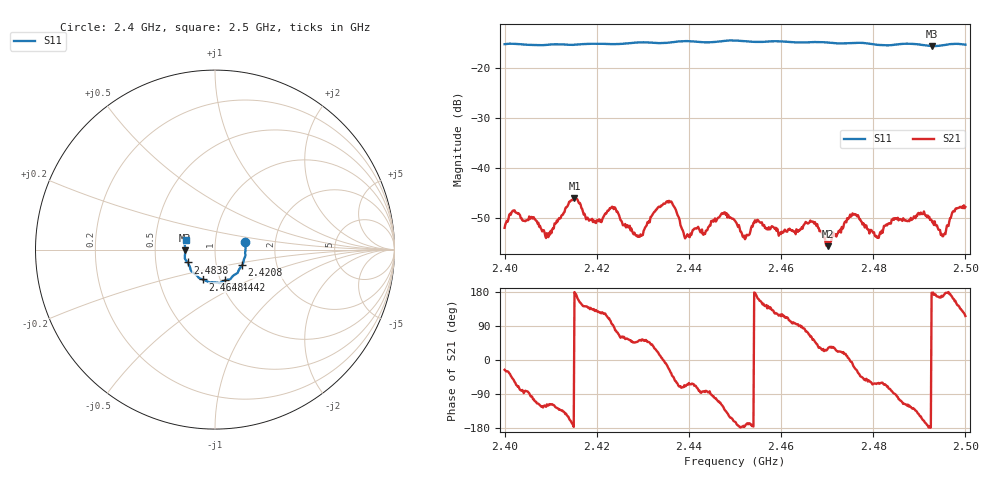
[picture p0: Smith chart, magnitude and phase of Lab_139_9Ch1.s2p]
# Hz S RI R 50
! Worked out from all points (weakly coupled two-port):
!   601 points, 2.4 GHz to 2.5 GHz, reference 50 ohm
!   highest |S21| = -45.96 dB at 2.4152 GHz (marker M1); lowest = -55.6 dB at 2.4702 GHz (marker M2)
!   lowest |S11| = -15.6 dB at 2.4928 GHz (marker M3), VSWR 1.40, Z = 35.8 - j0.354 ohm
!   |S11| at or under -10 dB: start of sweep to end of sweep
!   S12 and S22 are empty: the file has one direction only
!   S11 on the Smith chart (normalised r, x): 2.4 GHz: 1.40, +0.12; 2.4208 GHz: 1.33, -0.24; 2.4442 GHz: 1.05, -0.37; 2.4648 GHz: 0.83, -0.28; 2.4838 GHz: 0.73, -0.11; 2.5 GHz: 0.72, +0.08
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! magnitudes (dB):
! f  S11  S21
! 2.4 GHz  -15.2  -52.0
! 2.4022 GHz  -15.2  -48.5
! 2.4093 GHz  -15.4  -53.4
! 2.4152 GHz  -15.4  -46.0
! 2.4167 GHz  -15.3  -48.0
! 2.4208 GHz  -15.2  -50.4
! 2.4237 GHz  -15.2  -48.2
! 2.4293 GHz  -14.9  -53.7
! 2.4333 GHz  -15.0  -47.8
! 2.4362 GHz  -14.9  -46.7
! 2.4395 GHz  -14.6  -53.7
! 2.4442 GHz  -14.9  -51.9
! 2.45 GHz  -14.5  -50.5
! 2.4648 GHz  -14.9  -51.5
! 2.4667 GHz  -14.8  -50.7
! 2.4702 GHz  -14.9  -55.6
! 2.4755 GHz  -15.0  -49.1
! 2.4833 GHz  -15.5  -51.1
! 2.4838 GHz  -15.4  -51.1
! 2.4928 GHz  -15.6  -50.9
! 2.4952 GHz  -15.5  -53.6
! 2.5 GHz  -15.3  -47.8
